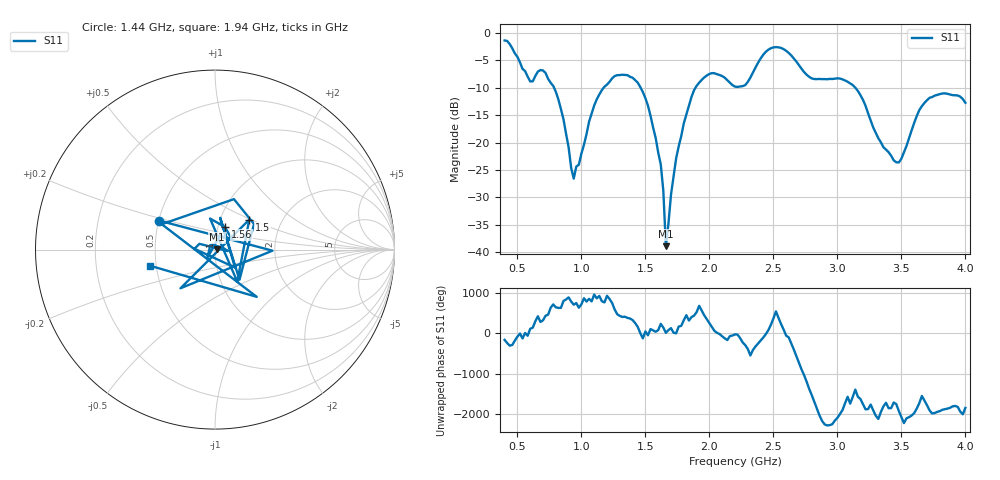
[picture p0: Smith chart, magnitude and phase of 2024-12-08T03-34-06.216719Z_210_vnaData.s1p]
!Created with skrf (http://scikit-rf.org).
# Hz S RI R 50.0
!freq ReS11 ImS11
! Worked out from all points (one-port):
!   181 points, 400 MHz to 4 GHz, reference 50 ohm
!   lowest |S11| = -38.9 dB at 1.66 GHz (marker M1), VSWR 1.02, Z = 51.1 + j0.124 ohm
!   |S11| at or under -10 dB: 786.2 MHz to 1.174 GHz (388.1 MHz wide, 39.6 % of centre); 1.463 GHz to 1.891 GHz (428.9 MHz wide, 25.6 % of centre); 3.14 GHz to end of sweep
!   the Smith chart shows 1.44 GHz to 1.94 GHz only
!   S11 on the Smith chart (normalised r, x): 1.44 GHz: 0.50, +0.18; 1.5 GHz: 1.37, +0.49; 1.56 GHz: 1.08, +0.28; 1.94 GHz: 0.46, -0.10
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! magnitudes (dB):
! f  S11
! 400 MHz  -1.4
! 600 MHz  -8.9
! 720 MHz  -7.3
! 860 MHz  -15.8
! 940 MHz  -26.6
! 1.12 GHz  -12.1
! 1.3 GHz  -7.7
! 1.44 GHz  -9.1
! 1.5 GHz  -11.9
! 1.56 GHz  -17.2
! 1.62 GHz  -24.0
! 1.64 GHz  -28.8
! 1.66 GHz  -38.9
! 1.7 GHz  -29.5
! 1.76 GHz  -20.7
! 1.86 GHz  -11.7
! 1.94 GHz  -8.6
! 2.2 GHz  -9.8
! 2.28 GHz  -9.5
! 2.48 GHz  -2.8
! 2.66 GHz  -4.7
! 2.8 GHz  -8.3
! 3.1 GHz  -9.2
! 3.44 GHz  -23.2
! 3.5 GHz  -22.9
! 3.56 GHz  -19.2
! 3.72 GHz  -11.8
! 4 GHz  -12.8
